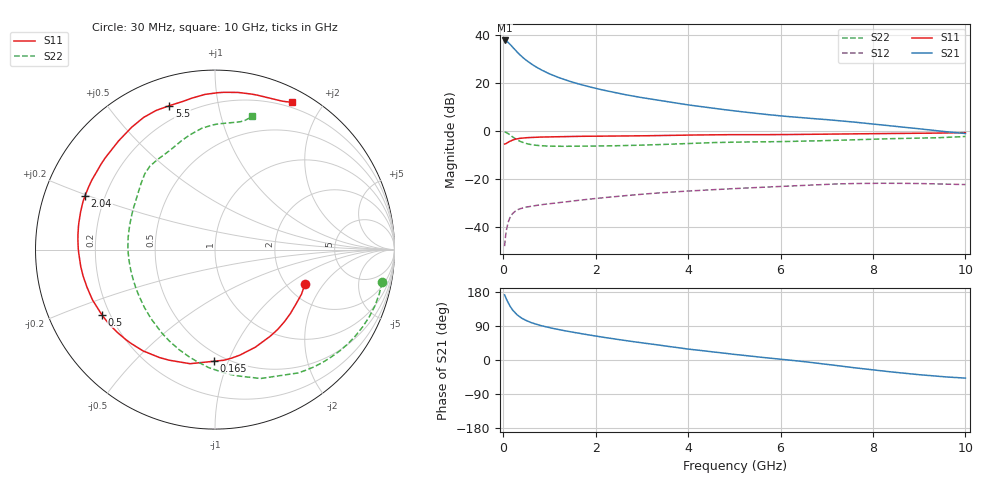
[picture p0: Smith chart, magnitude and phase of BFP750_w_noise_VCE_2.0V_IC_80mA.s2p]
! Infineon Technologies  Discrete & RF Semiconductors
! BFP750
! VCE =  2.0 V,  IC =  80 mA
! Common Emitter S-Parameters:  Jan 2016
# GHz  S  MA  R  50
!  f  S11  S21  S12  S22
! GHz  MAG  ANG  MAG  ANG  MAG  ANG  MAG  ANG
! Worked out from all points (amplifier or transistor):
!   229 points, 30 MHz to 10 GHz, reference 50 ohm
!   highest |S21| = 37.6 dB at 30 MHz (marker M1)
!   |S21| within 3 dB of that: start of sweep to 214 MHz
!   unconditionally stable (mu >= 1): 3.281 GHz to end of sweep
!   at 280 MHz: K = 0.21, MSG = 33.1 dB, |S12| = -33.0 dB
!   at 1.78 GHz: K = 0.78, MSG = 23.6 dB, |S12| = -28.4 dB
!   at 10 GHz: K = 1.05, MAG = 9.2 dB, |S12| = -22.2 dB
!   lowest NFmin = 1.35 dB at 450 MHz
!   S11 on the Smith chart (normalised r, x): 30 MHz: 2.51, -1.34; 165 MHz: 0.44, -0.89; 500 MHz: 0.17, -0.26; 2.04 GHz: 0.13, +0.20; 5.5 GHz: 0.13, +0.72; 10 GHz: 0.14, +1.64
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0.03  0.5372 -20.7  75.5 171.9  0.0041 80.2  0.9487 -11.0
0.05  0.5435 -33.7  74.88 165.6  0.0066 77.0  0.9445 -19.5
0.09  0.5726 -57.7  70.67 155.0  0.0111 67.7  0.9076 -35.4
0.12  0.5945 -72.4  66.64 147.8  0.0139 61.9  0.8692 -46.2
0.15  0.6183 -85.3  62.46 141.4  0.0162 56.3  0.8281 -56.1
0.165  0.6221 -90.6  60.15 138.9  0.0171 54.1  0.8031 -60.2
0.2  0.6507 -102.3  55.27 132.3  0.0193 49.7  0.762 -70.5
0.24  0.667 -112.5  50.23 126.8  0.021 45.1  0.7138 -80.1
0.3  0.6923 -125.4  43.56 119.3  0.023 40.2  0.6583 -93.1
0.4  0.7137 -139.9  35.15 110.4  0.0251 34.9  0.592 -109.8
0.5  0.7278 -150.2  29.19 104.0  0.0265 31.7  0.5507 -122.6
0.7  0.7435 -163.7  21.56 94.9  0.0285 28.9  0.5084 -140.7
1  0.757 -176.6  15.35 85.3  0.031 27.6  0.4868 -158.1
1.3  0.7677 174.3  11.89 77.9  0.0336 27.6  0.4825 -169.7
1.7  0.7778 164.5  9.085 69.3  0.0372 27.4  0.4851 179.0
2.04  0.7837 157.4  7.525 62.5  0.0403 26.9  0.4889 171.2
3.4  0.8054 133.3  4.27 38.8  0.0523 21.2  0.5245 146.3
5.1  0.8412 111.9  2.552 13.6  0.0648 11.2  0.5904 126.8
5.5  0.8412 107.6  2.305 8.1  0.0675 8.6  0.5955 122.2
6.8  0.8606 95.7  1.782 -8.5  0.0772 -0.9  0.6267 108.9
8.4  0.8897 77.0  1.279 -31.5  0.0826 -16.5  0.6945 91.1
10  0.9265 62.4  0.888 -47.8  0.0777 -28.3  0.7704 74.3
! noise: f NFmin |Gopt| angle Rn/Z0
0.45  1.35  0.27  -168  0.4
0.9  1.37  0.35  -163  0.18
1.5  1.39  0.46  -155  0.09
1.9  1.39  0.48  -149  0.09
2.4  1.39  0.48  -142  0.11
3.5  1.63  0.48  -126  0.15
